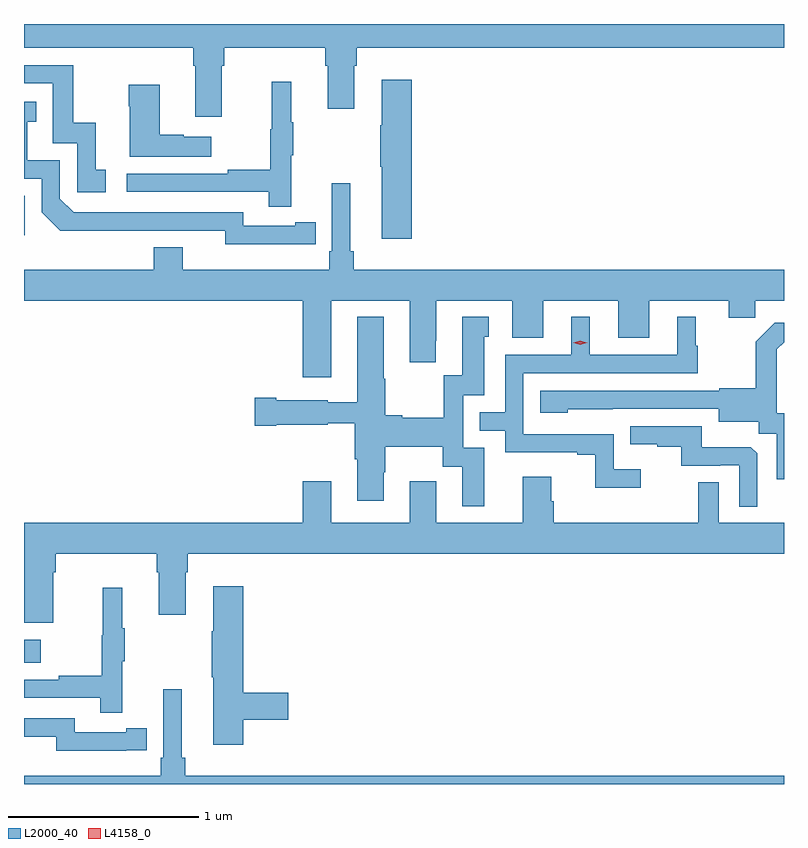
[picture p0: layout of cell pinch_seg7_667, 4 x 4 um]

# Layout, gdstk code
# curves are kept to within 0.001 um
import gdstk
lib = gdstk.Library(unit=1e-6, precision=1e-09)
def R(c, l, rs):  # rectangles x0, y0, x1, y1
    for r in rs: c.add(gdstk.rectangle(r[:2], r[2:], *l))
def P(c, l, *ps):  # polygons
    for p in ps: c.add(gdstk.Polygon(p, *l))
L2000_40 = (2000, 40)
L4158_0 = (4158, 0)

pinch_seg7_667 = lib.new_cell('pinch_seg7_667')
R(pinch_seg7_667, L2000_40, [(249.591,1029.347,249.679,1029.469), (249.591,1031.598,249.594,1031.805)])
P(pinch_seg7_667, L2000_40, [(249.591,1032.584),(250.481,1032.584),(250.481,1032.488),(250.493,1032.488),(250.493,1032.222),(250.633,1032.222),(250.633,1032.488),(250.646,1032.488),(250.646,1032.584),(251.177,1032.584),(251.177,1032.488),(251.189,1032.488),(251.189,1032.264),(251.329,1032.264),(251.329,1032.488),(251.342,1032.488),(251.342,1032.584),(253.591,1032.584),(253.591,1032.709),(249.591,1032.709)],
  [(250.021,1031.943),(249.968,1031.943),(249.968,1032.19),(249.85,1032.19),(249.85,1032.492),(249.591,1032.492),(249.591,1032.396),(249.741,1032.396),(249.741,1032.081),(249.87,1032.081),(249.87,1031.823),(250.021,1031.823)],
  [(251.633,1032.415),(251.474,1032.415),(251.474,1032.176),(251.467,1032.176),(251.467,1031.959),(251.474,1031.959),(251.474,1031.58),(251.633,1031.58)],
  [(250.997,1032.019),(251.008,1032.019),(251.008,1032.193),(250.997,1032.193),(250.997,1032.406),(250.894,1032.406),(250.894,1032.156),(250.887,1032.156),(250.887,1031.942),(250.663,1031.942),(250.663,1031.922),(250.131,1031.922),(250.131,1031.826),(250.879,1031.826),(250.879,1031.748),(250.997,1031.748)],
  [(250.576,1032.115),(250.433,1032.115),(250.433,1032.125),(250.306,1032.125),(250.306,1032.388),(250.141,1032.388),(250.141,1032.275),(250.148,1032.275),(250.148,1032.011),(250.576,1032.011)],
  [(251.018,1031.55),(251.126,1031.55),(251.126,1031.666),(251.018,1031.666),(251.018,1031.646),(250.746,1031.646),(250.746,1031.718),(249.852,1031.718),(249.78,1031.79),(249.78,1031.991),(249.607,1031.991),(249.607,1032.195),(249.656,1032.195),(249.656,1032.301),(249.591,1032.301),(249.591,1031.895),(249.684,1031.895),(249.684,1031.718),(249.782,1031.621),(250.65,1031.622),(250.65,1031.549)],
  [(251.209,1031.252),(251.621,1031.252),(251.621,1030.929),(251.758,1030.929),(251.758,1031.041),(251.761,1031.041),(251.761,1031.252),(252.161,1031.252),(252.161,1031.058),(252.325,1031.058),(252.325,1031.252),(252.719,1031.252),(252.719,1031.058),(252.883,1031.058),(252.883,1031.252),(253.301,1031.252),(253.301,1031.162),(253.439,1031.162),(253.439,1031.252),(253.591,1031.252),(253.591,1031.416),(251.327,1031.416),(251.327,1031.512),(251.308,1031.512),(251.308,1031.872),(251.211,1031.872),(251.211,1031.512),(251.198,1031.512),(251.198,1031.416),(250.426,1031.416),(250.426,1031.533),(250.274,1031.533),(250.274,1031.416),(249.591,1031.416),(249.591,1031.252),(251.057,1031.252),(251.057,1030.851),(251.209,1030.851)],
  [(252.838,1030.366),(252.696,1030.366),(252.696,1030.551),(252.219,1030.551),(252.219,1030.872),(253.138,1030.872),(253.138,1031.016),(253.126,1031.016),(253.126,1031.167),(253.028,1031.167),(253.028,1030.968),(252.568,1030.968),(252.568,1031.167),(252.47,1031.167),(252.47,1030.968),(252.123,1030.968),(252.123,1030.665),(251.989,1030.665),(251.989,1030.569),(252.123,1030.569),(252.123,1030.455),(252.503,1030.455),(252.503,1030.443),(252.598,1030.443),(252.598,1030.268),(252.838,1030.268)],
  [(252.013,1030.479),(251.904,1030.479),(251.904,1030.755),(252.013,1030.755),(252.013,1031.064),(252.037,1031.064),(252.037,1031.167),(251.897,1031.167),(251.897,1030.86),(251.801,1030.86),(251.801,1030.636),(251.581,1030.636),(251.581,1030.649),(251.493,1030.649),(251.493,1030.841),(251.485,1030.841),(251.485,1031.167),(251.345,1031.167),(251.345,1030.717),(251.19,1030.717),(251.19,1030.729),(250.918,1030.729),(250.918,1030.742),(250.806,1030.742),(250.806,1030.595),(250.918,1030.595),(250.918,1030.6),(251.19,1030.6),(251.19,1030.608),(251.333,1030.608),(251.333,1030.418),(251.345,1030.418),(251.345,1030.2),(251.485,1030.2),(251.485,1030.35),(251.493,1030.35),(251.493,1030.484),(251.796,1030.484),(251.796,1030.378),(251.897,1030.378),(251.897,1030.17),(252.013,1030.17)],
  [(253.591,1030.66),(253.554,1030.66),(253.554,1030.901),(253.552,1030.901),(253.552,1030.996),(253.591,1031.035),(253.591,1031.137),(253.543,1031.137),(253.443,1031.037),(253.443,1030.792),(253.251,1030.792),(253.251,1030.779),(252.309,1030.779),(252.309,1030.664),(252.453,1030.664),(252.453,1030.682),(253.247,1030.683),(253.247,1030.616),(253.458,1030.616),(253.458,1030.552),(253.553,1030.552),(253.553,1030.314),(253.591,1030.314)],
  [(253.449,1030.449),(253.417,1030.481),(253.159,1030.481),(253.159,1030.593),(252.781,1030.593),(252.781,1030.496),(252.925,1030.496),(252.925,1030.485),(253.049,1030.485),(253.049,1030.383),(253.256,1030.383),(253.256,1030.386),(253.356,1030.386),(253.356,1030.169),(253.449,1030.169)],
  [(249.745,1029.824),(249.758,1029.824),(249.758,1029.92),(250.289,1029.92),(250.289,1029.824),(250.301,1029.824),(250.301,1029.6),(250.441,1029.6),(250.441,1029.824),(250.454,1029.824),(250.454,1029.92),(253.591,1029.92),(253.591,1030.084),(253.248,1030.084),(253.248,1030.298),(253.14,1030.298),(253.14,1030.084),(252.38,1030.084),(252.38,1030.197),(252.367,1030.197),(252.367,1030.327),(252.215,1030.327),(252.215,1030.084),(251.761,1030.084),(251.761,1030.303),(251.621,1030.303),(251.621,1030.084),(251.209,1030.084),(251.209,1030.303),(251.057,1030.303),(251.057,1030.084),(249.591,1030.084),(249.591,1029.92),(249.593,1029.92),(249.593,1029.558),(249.745,1029.558)],
  [(250.745,1029.046),(250.981,1029.046),(250.981,1029.188),(250.745,1029.188),(250.745,1029.751),(250.586,1029.751),(250.586,1029.512),(250.579,1029.512),(250.579,1029.271),(250.586,1029.271),(250.586,1028.916),(250.745,1028.916)],
  [(250.109,1029.355),(250.12,1029.355),(250.12,1029.529),(250.109,1029.529),(250.109,1029.742),(250.006,1029.742),(250.006,1029.492),(249.999,1029.492),(249.999,1029.278),(249.775,1029.278),(249.775,1029.258),(249.591,1029.258),(249.591,1029.162),(249.991,1029.162),(249.991,1029.084),(250.109,1029.084)],
  [(253.591,1028.752),(250.439,1028.752),(250.439,1028.848),(250.42,1028.848),(250.42,1029.208),(250.323,1029.208),(250.323,1028.848),(250.31,1028.848),(250.31,1028.752),(249.591,1028.752),(249.591,1028.709),(253.591,1028.709)],
  [(250.13,1028.886),(250.238,1028.886),(250.238,1029.002),(250.13,1029.002),(250.13,1028.982),(249.858,1028.982),(249.858,1029.054),(249.591,1029.054),(249.591,1028.958),(249.762,1028.958),(249.762,1028.885),(250.13,1028.885)])
P(pinch_seg7_667, L4158_0, [(252.519,1031.022),(252.483,1031.031),(252.483,1031.032),(252.483,1031.032),(252.519,1031.042),(252.554,1031.032),(252.555,1031.032),(252.554,1031.031)])

lib.write_gds('pinch_seg7_667.gds')
